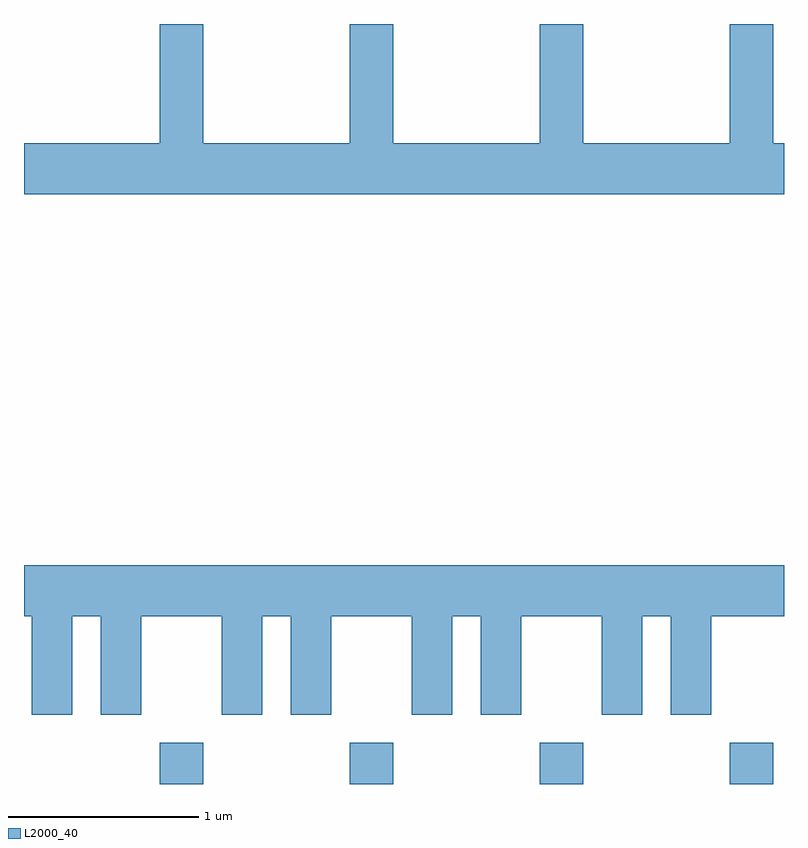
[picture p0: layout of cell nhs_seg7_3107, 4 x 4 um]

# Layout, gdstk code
import gdstk
lib = gdstk.Library(unit=1e-6, precision=1e-09)
def R(c, l, rs):  # rectangles x0, y0, x1, y1
    for r in rs: c.add(gdstk.rectangle(r[:2], r[2:], *l))
def A(c, l, x, y, w, h, nx, ny, dx, dy):  # array of equal rectangles
    R(c, l, [(x+i*dx, y+j*dy, x+i*dx+w, y+j*dy+h) for i in range(nx) for j in range(ny)])
def P(c, l, *ps):  # polygons
    for p in ps: c.add(gdstk.Polygon(p, *l))
L2000_40 = (2000, 40)

nhs_seg7_3107 = lib.new_cell('nhs_seg7_3107')
A(nhs_seg7_3107, L2000_40, 280.326, 1782.252, 0.228, 0.217, 4, 1, 1, 0)
P(nhs_seg7_3107, L2000_40, [(283.611,1785.624),(283.554,1785.624),(283.554,1786.252),(283.326,1786.252),(283.326,1785.624),(282.554,1785.624),(282.554,1786.252),(282.326,1786.252),(282.326,1785.624),(281.554,1785.624),(281.554,1786.252),(281.326,1786.252),(281.326,1785.624),(280.554,1785.624),(280.554,1786.252),(280.326,1786.252),(280.326,1785.624),(279.611,1785.624),(279.611,1785.356),(283.611,1785.356)],
  [(279.864,1783.136),(280.016,1783.136),(280.016,1782.616),(280.229,1782.616),(280.229,1783.136),(280.651,1783.136),(280.651,1782.616),(280.864,1782.616),(280.864,1783.136),(281.016,1783.136),(281.016,1782.616),(281.229,1782.616),(281.229,1783.136),(281.651,1783.136),(281.651,1782.616),(281.864,1782.616),(281.864,1783.136),(282.016,1783.136),(282.016,1782.616),(282.229,1782.616),(282.229,1783.136),(282.651,1783.136),(282.651,1782.616),(282.864,1782.616),(282.864,1783.136),(283.016,1783.136),(283.016,1782.616),(283.229,1782.616),(283.229,1783.136),(283.611,1783.136),(283.611,1783.404),(279.611,1783.404),(279.611,1783.136),(279.651,1783.136),(279.651,1782.616),(279.864,1782.616)])

lib.write_gds('nhs_seg7_3107.gds')
